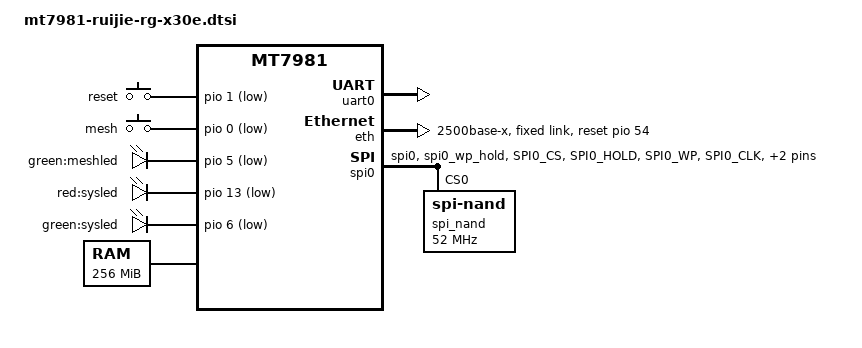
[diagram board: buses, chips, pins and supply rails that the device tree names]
// SPDX-License-Identifier: GPL-2.0-or-later

/dts-v1/;
#include "mt7981.dtsi"
#include <dt-bindings/gpio/gpio.h>

/ {
	#address-cells = <1>;
	#size-cells = <1>;

	chosen {
		stdout-path = &uart0;
		tick-timer = &timer0;
	};

	config {
		bootcmd = "mtkboardboot";
		blink_led = "red:sysled";
		system_led = "red:sysled";
	};

	mtd-layout {
		layout@0 {
			label = "default";
			cmdline = "console=ttyS0,115200n1 loglevel=8 earlycon=uart8250,mmio32,0x11002000 backpart=firmware2 bootpart=firmware";
			mtdids = "nmbm0=nmbm0";
			mtdparts = "nmbm0:1024k(bl2),512k(u-boot-env),2048k(Factory),2048k(fip),2048k(fip2),512k(product_info),512k(kdump),35328k(firmware),35328k(firmware2),43520k(backup)";
			boot_part = "firmware";
			factory_part = "firmware";
			sysupgrade_kernel_ubipart = "firmware";
			sysupgrade_rootfs_ubipart = "firmware";
		};

		layout@1 {
			label = "stock-firmware2";
			cmdline = "console=ttyS0,115200n1 loglevel=8 earlycon=uart8250,mmio32,0x11002000 backpart=firmware bootpart=firmware2";
			mtdids = "nmbm0=nmbm0";
			mtdparts = "nmbm0:1024k(bl2),512k(u-boot-env),2048k(Factory),2048k(fip),2048k(fip2),512k(product_info),512k(kdump),35328k(firmware),35328k(firmware2),43520k(backup)";
			boot_part = "firmware2";
			factory_part = "firmware2";
			sysupgrade_kernel_ubipart = "firmware2";
			sysupgrade_rootfs_ubipart = "firmware2";
		};
		layout@2 {
			label = "openwrt-firmware";
			cmdline = "console=ttyS0,115200n1 loglevel=8 earlycon=uart8250,mmio32,0x11002000";
			mtdids = "nmbm0=nmbm0";
			mtdparts = "nmbm0:1024k(bl2),512k(u-boot-env),2048k(Factory),2048k(fip),2048k(fip2),512k(product_info),512k(kdump),35328k(ubi),35328k(ubi2),43520k(backup)";
			boot_part = "ubi";
			factory_part = "ubi";
			sysupgrade_kernel_ubipart = "ubi";
			sysupgrade_rootfs_ubipart = "ubi";
		};

		layout@3 {
			label = "openwrt-firmware2";
			cmdline = "console=ttyS0,115200n1 loglevel=8 earlycon=uart8250,mmio32,0x11002000";
			mtdids = "nmbm0=nmbm0";
			mtdparts = "nmbm0:1024k(bl2),512k(u-boot-env),2048k(Factory),2048k(fip),2048k(fip2),512k(product_info),512k(kdump),35328k(ubi),35328k(ubi2),43520k(backup)";
			boot_part = "ubi2";
			factory_part = "ubi2";
			sysupgrade_kernel_ubipart = "ubi2";
			sysupgrade_rootfs_ubipart = "ubi2";
		};

		layout@4 {
			label = "openwrt-firmware-combined";
			cmdline = "console=ttyS0,115200n1 loglevel=8 earlycon=uart8250,mmio32,0x11002000";
			mtdids = "nmbm0=nmbm0";
			mtdparts = "nmbm0:1024k(bl2),512k(u-boot-env),2048k(Factory),2048k(fip),2048k(fip2),512k(product_info),512k(kdump),114176k(ubi)";
			boot_part = "ubi";
			factory_part = "ubi";
			sysupgrade_kernel_ubipart = "ubi";
			sysupgrade_rootfs_ubipart = "ubi";
		};
	};

	gpio-keys {
		compatible = "gpio-keys";

		reset-button {
			label = "reset";
			gpios = <&pio 1 GPIO_ACTIVE_LOW>;
			linux,code = <KEY_RESTART>;
		};

		mesh-button {
			label = "mesh";
			gpios = <&pio 0 GPIO_ACTIVE_LOW>;
			linux,code = <KEY_RIGHTALT>;
		};
	};

	leds {
		compatible = "gpio-leds";

		led-0 {
			label = "green:meshled";
			gpios = <&pio 5 GPIO_ACTIVE_LOW>;
		};

		led-1 {
			label = "red:sysled";
			gpios = <&pio 13 GPIO_ACTIVE_LOW>;
		};

		led-2 {
			label = "green:sysled";
			gpios = <&pio 6 GPIO_ACTIVE_LOW>;
		};
	};

	memory@40000000 {
		device_type = "memory";
		reg = <0x40000000 0x10000000>;
	};

	bl2_verify {
		bl2_compatible = "spim-nand";
	};
};

&uart0 {
	status = "okay";
};

&eth {
	status = "okay";
	mediatek,gmac-id = <0>;
	phy-mode = "2500base-x";
	mediatek,switch = "auto";
	reset-gpios = <&pio 54 GPIO_ACTIVE_HIGH>;

	fixed-link {
		speed = <2500>;
		full-duplex;
	};
};

&pio {
	spi_flash_pins: spi0-pins-func-1 {
		mux {
			function = "flash";
			groups = "spi0", "spi0_wp_hold";
		};

		conf-pu {
			pins = "SPI0_CS", "SPI0_HOLD", "SPI0_WP";
			drive-strength = <MTK_DRIVE_4mA>;
			bias-pull-up = <MTK_PUPD_SET_R1R0_11>;
		};

		conf-pd {
			pins = "SPI0_CLK", "SPI0_MOSI", "SPI0_MISO";
			drive-strength = <MTK_DRIVE_4mA>;
			bias-pull-down = <MTK_PUPD_SET_R1R0_11>;
		};
	};
};

&spi0 {
	#address-cells = <1>;
	#size-cells = <0>;
	pinctrl-names = "default";
	pinctrl-0 = <&spi_flash_pins>;
	status = "okay";
	must_tx;
	enhance_timing;
	dma_ext;
	ipm_design;
	support_quad;
	tick_dly = <2>;
	sample_sel = <0>;

	spi_nand@0 {
		compatible = "spi-nand";
		reg = <0>;
		spi-max-frequency = <52000000>;
	};
};

&watchdog {
	status = "disabled";
};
